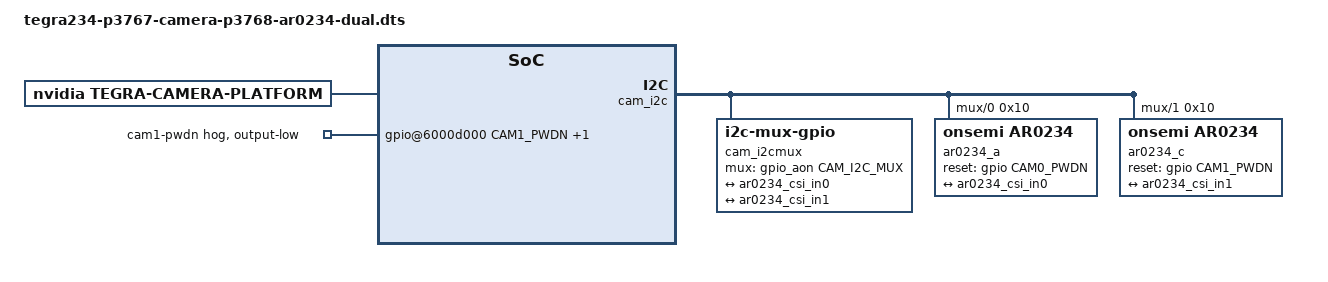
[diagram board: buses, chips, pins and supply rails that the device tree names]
// SPDX-License-Identifier: GPL-2.0-only
// SPDX-FileCopyrightText: Copyright (c) 2023-2024, NVIDIA CORPORATION & AFFILIATES. All rights reserved.

/dts-v1/;
/plugin/;

#define CAM0_PWDN	TEGRA234_MAIN_GPIO(H, 6)
#define CAM1_PWDN	TEGRA234_MAIN_GPIO(AC, 0)
#define CAM_I2C_MUX 	TEGRA234_AON_GPIO(CC, 3)

#include <dt-bindings/tegra234-p3767-0000-common.h>

/ {
	overlay-name = "Camera AR0234 Dual";
	jetson-header-name = "Jetson 24pin CSI Connector";
	compatible = JETSON_COMPATIBLE_P3768;

	fragment@0 {
		target-path = "/";
		__overlay__ {
			tegra-capture-vi {
				num-channels = <2>;
				ports {
					#address-cells = <1>;
					#size-cells = <0>;
					port@0 {
						reg = <0>;
						ar0234_vi_in0: endpoint {
							port-index = <1>;
							bus-width = <2>;
							remote-endpoint = <&ar0234_csi_out0>;
						};
					};
					port@1 {
						reg = <1>;
						ar0234_vi_in1: endpoint {
							port-index = <2>;
							bus-width = <2>;
							remote-endpoint = <&ar0234_csi_out1>;
						};
					};
				};
			};
			tegra-camera-platform {
				compatible = "nvidia, tegra-camera-platform";
				num_csi_lanes = <4>;
				max_lane_speed = <1500000>;
				min_bits_per_pixel = <10>;
				vi_peak_byte_per_pixel = <2>;
				vi_bw_margin_pct = <25>;
				max_pixel_rate = <7500000>;
				isp_peak_byte_per_pixel = <5>;
				isp_bw_margin_pct = <25>;
				modules {
					module0 {
						badge = "jakku_front_ar0234";
						position = "front";
						orientation = "1";
						drivernode0 {
							pcl_id = "v4l2_sensor";
							sysfs-device-tree = "/sys/firmware/devicetree/base/bus@0/cam_i2cmux/i2c@0/ar0234_a@10";
						};
					};
					module1 {
						badge = "jakku_rear_ar0234";
						position = "rear";
						orientation = "1";
						drivernode0 {
							pcl_id = "v4l2_sensor";
							sysfs-device-tree = "/sys/firmware/devicetree/base/bus@0/cam_i2cmux/i2c@1/ar0234_c@10";
						};
					};
				};
			};
			bus@0 {
				host1x@13e00000 {
					nvcsi@15a00000 {
						num-channels = <2>;
						#address-cells = <1>;
						#size-cells = <0>;
						channel@0 {
							reg = <0>;
							ports {
								#address-cells = <1>;
								#size-cells = <0>;
								port@0 {
									reg = <0>;
									ar0234_csi_in0: endpoint@0 {
										port-index = <1>;
										bus-width = <2>;
										remote-endpoint = <&ar0234_out0>;
									};
								};
								port@1 {
									reg = <1>;
									ar0234_csi_out0: endpoint@1 {
										remote-endpoint = <&ar0234_vi_in0>;
									};
								};
							};
						};
						channel@1 {
							reg = <1>;
							ports {
								#address-cells = <1>;
								#size-cells = <0>;
								port@0 {
									reg = <0>;
									ar0234_csi_in1: endpoint@2 {
										port-index = <2>;
										bus-width = <2>;
										remote-endpoint = <&ar0234_out1>;
									};
								};
								port@1 {
									reg = <1>;
									ar0234_csi_out1: endpoint@3 {
										remote-endpoint = <&ar0234_vi_in1>;
									};
								};
							};
						};
					};
				};
				cam_i2cmux {
					status = "okay";
					compatible = "i2c-mux-gpio";
					#address-cells = <1>;
					#size-cells = <0>;
					mux-gpios = <&gpio_aon CAM_I2C_MUX GPIO_ACTIVE_HIGH>;
					i2c-parent = <&cam_i2c>;
					i2c@0 {
						status = "okay";
						reg = <0>;
						#address-cells = <1>;
						#size-cells = <0>;
						rbpcv2_imx219_a@10 {
							status = "disabled";
						};
						ar0234_a@10 {
							reset-gpios = <&gpio CAM0_PWDN GPIO_ACTIVE_HIGH>;
							compatible = "onsemi,ar0234";
							reg = <0x10>;
							devnode = "video0";
							physical_w = "15.0";
							physical_h = "12.5";
							sensor_model = "ar0234";
							use_sensor_mode_id = "true";
							mode0 { /* AR0234_MODE_1920X1200_30FPS */
								mclk_khz = "24000";
								num_lanes = "2";
								tegra_sinterface = "serial_b";
								phy_mode = "DPHY";
								discontinuous_clk = "no";
								dpcm_enable = "false";
								cil_settletime = "0";
								lane_polarity = "6";
								dynamic_pixel_bit_depth = "10";
								csi_pixel_bit_depth = "10";
								mode_type = "bayer";
								pixel_phase = "grbg";
								active_w = "1920";
								active_h = "1200";
								readout_orientation = "0";
								line_length = "2448";
								inherent_gain = "1";
								mclk_multiplier = "3.01";
								pix_clk_hz = "134400000";
								gain_factor = "100";
								min_gain_val = "100";
								max_gain_val = "1600";
								step_gain_val = "1";
								default_gain = "100";
								min_hdr_ratio = "1";
								max_hdr_ratio = "1";
								framerate_factor = "1000000";
								min_framerate = "2000000"; /* 2.0 fps */
								max_framerate = "30000000"; /* 30.0 fps */
								step_framerate = "1";
								default_framerate = "30000000"; /* 30.0 fps */
								exposure_factor = "1000000";
								min_exp_time = "28"; /* us */
								max_exp_time = "22000"; /* us */
								step_exp_time = "1";
								default_exp_time = "22000"; /* us */
								embedded_metadata_height = "0";
							};
							ports {
								#address-cells = <1>;
								#size-cells = <0>;
								port@0 {
									reg = <0>;
									ar0234_out0: endpoint {
										status = "okay";
										port-index = <1>;
										bus-width = <2>;
										remote-endpoint = <&ar0234_csi_in0>;
									};
								};
							};
						};
					};
					i2c@1 {
						status = "okay";
						reg = <1>;
						#address-cells = <1>;
						#size-cells = <0>;
						rbpcv2_imx219_c@10 {
							status = "disabled";
						};
						ar0234_c@10 {
							reset-gpios = <&gpio CAM1_PWDN GPIO_ACTIVE_HIGH>;
							compatible = "onsemi,ar0234";
							reg = <0x10>;
							devnode = "video1";
							physical_w = "15.0";
							physical_h = "12.5";
							sensor_model = "ar0234";
							use_sensor_mode_id = "true";
							mode0 { /* AR0234_MODE_1920X1200_30FPS */
								mclk_khz = "24000";
								num_lanes = "2";
								tegra_sinterface = "serial_c";
								phy_mode = "DPHY";
								discontinuous_clk = "no";
								dpcm_enable = "false";
								cil_settletime = "0";
								lane_polarity = "0";
								dynamic_pixel_bit_depth = "10";
								csi_pixel_bit_depth = "10";
								mode_type = "bayer";
								pixel_phase = "grbg";
								active_w = "1920";
								active_h = "1200";
								readout_orientation = "0";
								line_length = "2448";
								inherent_gain = "1";
								mclk_multiplier = "3.01";
								pix_clk_hz = "134400000";
								gain_factor = "100";
								min_gain_val = "100";
								max_gain_val = "1600";
								step_gain_val = "1";
								default_gain = "100";
								min_hdr_ratio = "1";
								max_hdr_ratio = "1";
								framerate_factor = "1000000";
								min_framerate = "2000000"; /* 2.0 fps */
								max_framerate = "30000000"; /* 30.0 fps */
								step_framerate = "1";
								default_framerate = "30000000"; /* 30.0 fps */
								exposure_factor = "1000000";
								min_exp_time = "28"; /* us */
								max_exp_time = "22000"; /* us */
								step_exp_time = "1";
								default_exp_time = "22000"; /* us */
								embedded_metadata_height = "0";
							};
							ports {
								#address-cells = <1>;
								#size-cells = <0>;
								port@0 {
									reg = <0>;
									ar0234_out1: endpoint {
										status = "okay";
										port-index = <2>;
										bus-width = <2>;
										remote-endpoint = <&ar0234_csi_in1>;
									};
								};
							};
						};
					};
				};

				gpio@6000d000 {
					camera-control-output-low {
						gpio-hog;
						output-low;
						gpios = <CAM1_PWDN 0  CAM0_PWDN 0>;
						label = "cam1-pwdn", "cam0-pwdn";
					};
				};
			};
		};
	};
};
